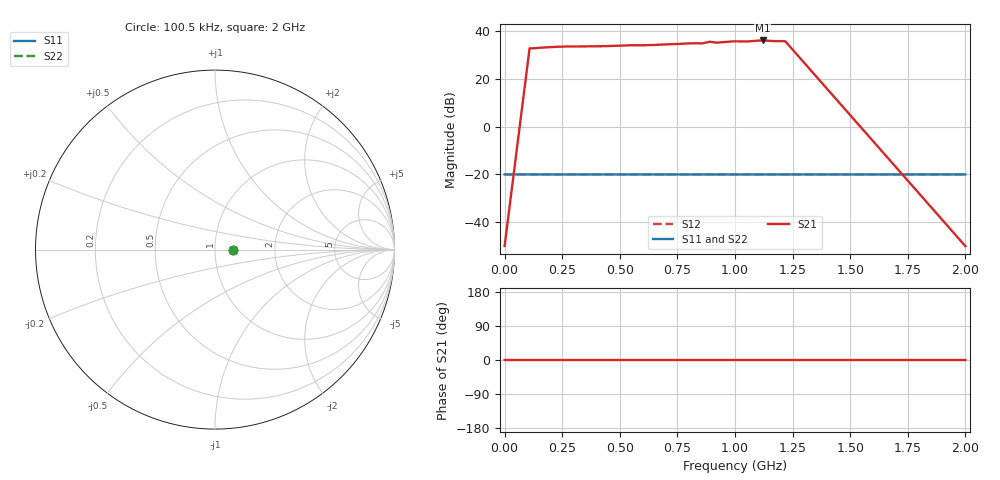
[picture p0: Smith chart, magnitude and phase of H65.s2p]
!Keysight  Technologies  E5080A  MY55200964  A.12.55.09
!Correction:  S11(Full  2  Port(1  2))
!S21(Full  2  Port(1  2))
!S12(Full  2  Port(1  2))
!S22(Full  2  Port(1  2))
!S2P  File:  Measurements:  S11 S21 S12 S22:
#  Hz  S  dB  R  50
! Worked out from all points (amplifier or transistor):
!   19894 points, 100.5 kHz to 2 GHz, reference 50 ohm
!   highest |S21| = 36.0 dB at 1.121 GHz (marker M1)
!   |S21| within 3 dB of that: 160 MHz to 1.242 GHz (1.082 GHz wide, 154 % of centre)
!   unconditionally stable (mu >= 1): start of sweep to 89.02 MHz; 1.378 GHz to end of sweep
!   at 333.3 MHz: K = 2.45, MSG = 26.7 dB, |S12| = -20.0 dB
!   at 1 GHz: K = 3.10, MSG = 27.8 dB, |S12| = -20.0 dB
!   at 2 GHz: K = 1546.59, MAG = -49.9 dB, |S12| = -20.0 dB
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100524.9  -20.00 0.0  -49.92 0.0  -20.00 0.0  -20.00 0.0
5.790234e7  -20.00 0.0  -5.66 0.0  -20.00 0.0  -20.00 0.0
8.001782e7  -20.00 0.0  11.28 0.0  -20.00 0.0  -20.00 0.0
9.187976e7  -20.00 0.0  20.36 0.0  -20.00 0.0  -20.00 0.0
1.083658e8  -20.00 0.0  32.70 0.0  -20.00 0.0  -20.00 0.0
1.173126e8  -20.00 0.0  32.68 0.0  -20.00 0.0  -20.00 0.0
2.451802e8  -20.00 0.0  33.44 0.0  -20.00 0.0  -20.00 0.0
3.334411e8  -20.00 0.0  33.48 0.0  -20.00 0.0  -20.00 0.0
6.666812e8  -20.00 0.0  34.20 0.0  -20.00 0.0  -20.00 0.0
8.513453e8  -20.00 0.0  34.76 0.0  -20.00 0.0  -20.00 0.0
8.877354e8  -20.00 0.0  35.46 0.0  -20.00 0.0  -20.00 0.0
9.213107e8  -20.00 0.0  35.12 0.0  -20.00 0.0  -20.00 0.0
1.000022e9  -20.00 0.0  35.63 0.0  -20.00 0.0  -20.00 0.0
1.120853e9  -20.00 0.0  36.01 0.0  -20.00 0.0  -20.00 0.0
1.213738e9  -20.00 0.0  35.70 0.0  -20.00 0.0  -20.00 0.0
1.272846e9  -20.00 0.0  29.67 0.0  -20.00 0.0  -20.00 0.0
1.301094e9  -20.00 0.0  26.58 0.0  -20.00 0.0  -20.00 0.0
1.333362e9  -20.00 0.0  23.04 0.0  -20.00 0.0  -20.00 0.0
1.384127e9  -20.00 0.0  17.48 0.0  -20.00 0.0  -20.00 0.0
1.448463e9  -20.00 0.0  10.43 0.0  -20.00 0.0  -20.00 0.0
1.666602e9  -20.00 0.0  -13.47 0.0  -20.00 0.0  -20.00 0.0
1.999842e9  -20.00 0.0  -49.98 0.0  -20.00 0.0  -20.00 0.0
